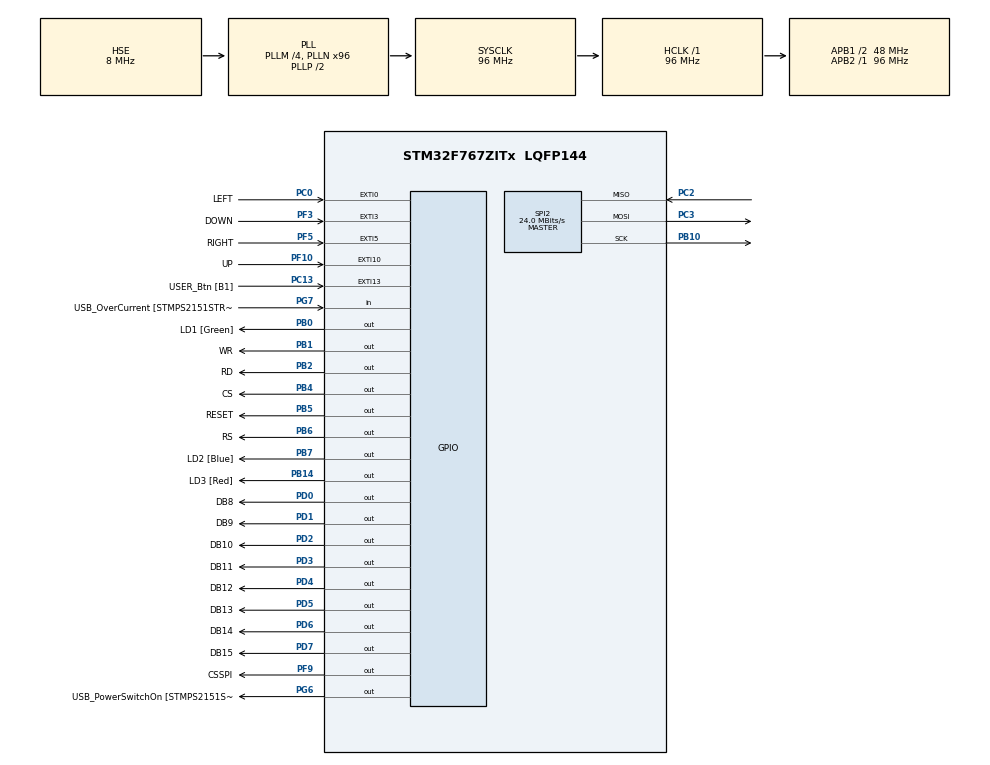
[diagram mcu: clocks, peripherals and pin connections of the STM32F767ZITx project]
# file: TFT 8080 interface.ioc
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Mcu.Family=STM32F7
Mcu.Name=STM32F767ZITx
Mcu.Package=LQFP144
NVIC.EXTI0_IRQn=true\:0\:0\:false\:false\:true\:true\:true
NVIC.EXTI15_10_IRQn=true\:0\:0\:false\:false\:true\:true\:true
NVIC.EXTI3_IRQn=true\:0\:0\:false\:false\:true\:true\:true
NVIC.EXTI9_5_IRQn=true\:0\:0\:false\:false\:true\:true\:true
NVIC.PriorityGroup=NVIC_PRIORITYGROUP_4
PA1.GPIO_Label=RMII_REF_CLK [LAN8742A-CZ-TR_REFCLK0]
PA1.Signal=ETH_REF_CLK
PA10.GPIO_Label=USB_ID
PA10.Signal=USB_OTG_FS_ID
PA11.GPIO_Label=USB_DM
PA11.Signal=USB_OTG_FS_DM
PA12.GPIO_Label=USB_DP
PA12.Signal=USB_OTG_FS_DP
PA13.GPIO_Label=TMS
PA13.Mode=Serial_Wire
PA13.Signal=SYS_JTMS-SWDIO
PA14.GPIO_Label=TCK
PA14.Mode=Serial_Wire
PA14.Signal=SYS_JTCK-SWCLK
PA2.GPIO_Label=RMII_MDIO [LAN8742A-CZ-TR_MDIO]
PA2.Signal=ETH_MDIO
PA7.GPIO_Label=RMII_CRS_DV [LAN8742A-CZ-TR_CRS_DV]
PA7.Signal=ETH_CRS_DV
PA8.GPIO_Label=USB_SOF [TP1]
PA8.Signal=USB_OTG_FS_SOF
PA9.GPIO_Label=USB_VBUS
PA9.Signal=USB_OTG_FS_VBUS
PB0.GPIO_Label=LD1 [Green]
PB0.Signal=GPIO_Output
PB1.GPIO_Label=WR
PB1.Signal=GPIO_Output
PB10.Mode=Full_Duplex_Master
PB10.Signal=SPI2_SCK
PB13.GPIO_Label=RMII_TXD1 [LAN8742A-CZ-TR_TXD1]
PB13.Signal=ETH_TXD1
PB14.GPIO_Label=LD3 [Red]
PB14.Signal=GPIO_Output
PB2.GPIO_Label=RD
PB2.Signal=GPIO_Output
PB3.GPIO_Label=SWO
PB3.Signal=SYS_JTDO-SWO
PB4.GPIO_Label=CS
PB4.Signal=GPIO_Output
PB5.GPIO_Label=RESET
PB5.Signal=GPIO_Output
PB6.GPIO_Label=RS
PB6.Signal=GPIO_Output
PB7.GPIO_Label=LD2 [Blue]
PB7.Signal=GPIO_Output
PC0.GPIO_Label=LEFT
PC0.Signal=GPXTI0
PC1.GPIO_Label=RMII_MDC [LAN8742A-CZ-TR_MDC]
PC1.Signal=ETH_MDC
PC13.GPIO_Label=USER_Btn [B1]
PC13.Signal=GPXTI13
PC14/OSC32_IN.Mode=LSE-External-Oscillator
PC14/OSC32_IN.Signal=RCC_OSC32_IN
PC15/OSC32_OUT.Mode=LSE-External-Oscillator
PC15/OSC32_OUT.Signal=RCC_OSC32_OUT
PC2.Mode=Full_Duplex_Master
PC2.Signal=SPI2_MISO
PC3.Mode=Full_Duplex_Master
PC3.Signal=SPI2_MOSI
PC4.GPIO_Label=RMII_RXD0 [LAN8742A-CZ-TR_RXD0]
PC4.Signal=ETH_RXD0
PC5.GPIO_Label=RMII_RXD1 [LAN8742A-CZ-TR_RXD1]
PC5.Signal=ETH_RXD1
PD0.GPIO_Label=DB8
PD0.PinState=GPIO_PIN_SET
PD0.Signal=GPIO_Output
PD1.GPIO_Label=DB9
PD1.PinState=GPIO_PIN_SET
PD1.Signal=GPIO_Output
PD2.GPIO_Label=DB10
PD2.PinState=GPIO_PIN_SET
PD2.Signal=GPIO_Output
PD3.GPIO_Label=DB11
PD3.PinState=GPIO_PIN_SET
PD3.Signal=GPIO_Output
PD4.GPIO_Label=DB12
PD4.PinState=GPIO_PIN_SET
PD4.Signal=GPIO_Output
PD5.GPIO_Label=DB13
PD5.PinState=GPIO_PIN_SET
PD5.Signal=GPIO_Output
PD6.GPIO_Label=DB14
PD6.PinState=GPIO_PIN_SET
PD6.Signal=GPIO_Output
PD7.GPIO_Label=DB15
PD7.PinState=GPIO_PIN_SET
PD7.Signal=GPIO_Output
PD8.GPIO_Label=STLK_RX [STM32F103CBT6_PA3]
PD8.Signal=USART3_TX
PD9.GPIO_Label=STLK_TX [STM32F103CBT6_PA2]
PD9.Signal=USART3_RX
PF10.GPIO_Label=UP
PF10.Signal=GPXTI10
PF3.GPIO_Label=DOWN
PF3.Signal=GPXTI3
PF5.GPIO_Label=RIGHT
PF5.Signal=GPXTI5
PF9.GPIO_Label=CSSPI
PF9.Signal=GPIO_Output
PG11.GPIO_Label=RMII_TX_EN [LAN8742A-CZ-TR_TXEN]
PG11.Signal=ETH_TX_EN
PG13.GPIO_Label=RMII_TXD0 [LAN8742A-CZ-TR_TXD0]
PG13.Signal=ETH_TXD0
PG6.GPIO_Label=USB_PowerSwitchOn [STMPS2151STR_EN]
PG6.Signal=GPIO_Output
PG7.GPIO_Label=USB_OverCurrent [STMPS2151STR_FAULT]
PG7.Signal=GPIO_Input
PH0/OSC_IN.GPIO_Label=MCO [STM32F103CBT6_PA8]
PH0/OSC_IN.Mode=HSE-External-Oscillator
PH0/OSC_IN.Signal=RCC_OSC_IN
PH1/OSC_OUT.Mode=HSE-External-Oscillator
PH1/OSC_OUT.Signal=RCC_OSC_OUT
ProjectManager.HeapSize=0x200
ProjectManager.StackSize=0x400
ProjectManager.TargetToolchain=EWARM V8.32
RCC.48MHZClocksFreq_Value=24000000
RCC.AHBFreq_Value=96000000
RCC.APB1CLKDivider=RCC_HCLK_DIV2
RCC.APB1Freq_Value=48000000
RCC.APB1TimFreq_Value=96000000
RCC.APB2Freq_Value=96000000
RCC.APB2TimFreq_Value=96000000
RCC.CortexFreq_Value=96000000
RCC.HCLKFreq_Value=96000000
RCC.HSE_VALUE=8000000
RCC.HSI_VALUE=16000000
RCC.PLLM=4
RCC.PLLMUL=RCC_PLL_MUL9
RCC.PLLN=96
RCC.PLLQ=4
RCC.PLLSourceVirtual=RCC_PLLSOURCE_HSE
RCC.PRESCALERUSB=RCC_USBCLKSOURCE_PLL_DIV1_5
RCC.SYSCLKFreq_VALUE=96000000
RCC.SYSCLKSource=RCC_SYSCLKSOURCE_PLLCLK
RCC.SYSCLKSourceVirtual=RCC_SYSCLKSOURCE_PLLCLK
RCC.USBFreq_Value=48000000
RCC.VCOOutputFreq_Value=192000000
SPI2.CalculateBaudRate=24.0 MBits/s
SPI2.DataSize=SPI_DATASIZE_8BIT
SPI2.Direction=SPI_DIRECTION_2LINES
SPI2.Mode=SPI_MODE_MASTER
SPI2.VirtualType=VM_MASTER
board=NUCLEO-F767ZI

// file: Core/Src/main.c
/* USER CODE BEGIN Header */
/**
  ******************************************************************************
  * @file           : main.c
  * @brief          : Main program body
  ******************************************************************************
  * @attention
  *
  * <h2><center>&copy; Copyright (c) 2021 STMicroelectronics.
  * All rights reserved.</center></h2>
  *
  * This software component is licensed by ST under BSD 3-Clause license,
  * the "License"; You may not use this file except in compliance with the
  * License. You may obtain a copy of the License at:
  *                        opensource.org/licenses/BSD-3-Clause
  *
  ******************************************************************************
  */

/* USER CODE END Header */
#include "main.h"
#include "menu.h"
#include "TFT_8080.h"
#include "sdcard.h"
#include "ff.h"

/* USER CODE BEGIN PM */
uint8_t flag_key1_press = 1;
uint32_t time_key1_press = 0;
/* USER CODE END PM */

SPI_HandleTypeDef hspi2;

void SystemClock_Config(void);
static void MX_GPIO_Init(void);
static void MX_SPI2_Init(void);
void init (void);
/* USER CODE BEGIN PFP */
FATFS fs;
/* USER CODE END PFP */

int main(void)
{
  /* USER CODE BEGIN 1 */
  unsigned char image[240];
  unsigned int Read;
  /* USER CODE END 1 */

  /* MCU Configuration--------------------------------------------------------*/

  /* Reset of all peripherals, Initializes the Flash interface and the Systick. */
  HAL_Init();

  /* Configure the system clock */
  SystemClock_Config();

  /* Initialize all configured peripherals */
  MX_GPIO_Init();
  MX_SPI2_Init();
  /* USER CODE BEGIN 2 */
  TFT_Init();
 /* TFT_Fill_Screen(0,320,0,240,BLUE);
  Menu_Create();
  TFT_Image(0,0,320,240,vaz);*/
  init ();
  FIL file;
  FRESULT res = f_open(&file, "vaz.h", FA_READ);
  if(res != FR_OK)
  {
   HAL_GPIO_TogglePin(LD2_GPIO_Port,LD2_Pin);
  }
  res = f_read(&file, image, sizeof(image), &Read);
  if(res != FR_OK)
  {
    HAL_GPIO_TogglePin(LD2_GPIO_Port,LD2_Pin);
    f_close(&file);
  }
  TFT_Image(0,0,320,240,image);
  /* USER CODE END 2 */

  /* Infinite loop */
  while (1)
  {

  }
}
void init (void)
{
  SDCARD_Unselect();
   int code = SDCARD_Init();
    if(code < 0)
    {
      HAL_GPIO_TogglePin(LD1_GPIO_Port,LD1_Pin);
    }
    FRESULT res = f_mount(&fs, "", 0);
    if(res != FR_OK)
    {
       HAL_GPIO_TogglePin(LD2_GPIO_Port,LD2_Pin);
    }
}

void SystemClock_Config(void)
{
  RCC_OscInitTypeDef RCC_OscInitStruct = {0};
  RCC_ClkInitTypeDef RCC_ClkInitStruct = {0};

  /** Configure LSE Drive Capability
  */
  HAL_PWR_EnableBkUpAccess();
  /** Configure the main internal regulator output voltage
  */
  __HAL_RCC_PWR_CLK_ENABLE();
  __HAL_PWR_VOLTAGESCALING_CONFIG(PWR_REGULATOR_VOLTAGE_SCALE3);
  /** Initializes the RCC Oscillators according to the specified parameters
  * in the RCC_OscInitTypeDef structure.
  */
  RCC_OscInitStruct.OscillatorType = RCC_OSCILLATORTYPE_HSE;
  RCC_OscInitStruct.HSEState = RCC_HSE_ON;
  RCC_OscInitStruct.PLL.PLLState = RCC_PLL_ON;
  RCC_OscInitStruct.PLL.PLLSource = RCC_PLLSOURCE_HSE;
  RCC_OscInitStruct.PLL.PLLM = 4;
  RCC_OscInitStruct.PLL.PLLN = 96;
  RCC_OscInitStruct.PLL.PLLP = RCC_PLLP_DIV2;
  RCC_OscInitStruct.PLL.PLLQ = 4;
  RCC_OscInitStruct.PLL.PLLR = 2;
  if (HAL_RCC_OscConfig(&RCC_OscInitStruct) != HAL_OK)
  {
    Error_Handler();
  }
  /** Activate the Over-Drive mode
  */
  if (HAL_PWREx_EnableOverDrive() != HAL_OK)
  {
    Error_Handler();
  }
  /** Initializes the CPU, AHB and APB buses clocks
  */
  RCC_ClkInitStruct.ClockType = RCC_CLOCKTYPE_HCLK|RCC_CLOCKTYPE_SYSCLK
                              |RCC_CLOCKTYPE_PCLK1|RCC_CLOCKTYPE_PCLK2;
  RCC_ClkInitStruct.SYSCLKSource = RCC_SYSCLKSOURCE_PLLCLK;
  RCC_ClkInitStruct.AHBCLKDivider = RCC_SYSCLK_DIV1;
  RCC_ClkInitStruct.APB1CLKDivider = RCC_HCLK_DIV2;
  RCC_ClkInitStruct.APB2CLKDivider = RCC_HCLK_DIV1;

  if (HAL_RCC_ClockConfig(&RCC_ClkInitStruct, FLASH_LATENCY_3) != HAL_OK)
  {
    Error_Handler();
  }
}

static void MX_SPI2_Init(void)
{

  /* SPI2 parameter configuration*/
  hspi2.Instance = SPI2;
  hspi2.Init.Mode = SPI_MODE_MASTER;
  hspi2.Init.Direction = SPI_DIRECTION_2LINES;
  hspi2.Init.DataSize = SPI_DATASIZE_8BIT;
  hspi2.Init.CLKPolarity = SPI_POLARITY_LOW;
  hspi2.Init.CLKPhase = SPI_PHASE_1EDGE;
  hspi2.Init.NSS = SPI_NSS_SOFT;
  hspi2.Init.BaudRatePrescaler = SPI_BAUDRATEPRESCALER_16;
  hspi2.Init.FirstBit = SPI_FIRSTBIT_MSB;
  hspi2.Init.TIMode = SPI_TIMODE_DISABLE;
  hspi2.Init.CRCCalculation = SPI_CRCCALCULATION_DISABLE;
  hspi2.Init.CRCPolynomial = 7;
  hspi2.Init.CRCLength = SPI_CRC_LENGTH_DATASIZE;
  hspi2.Init.NSSPMode = SPI_NSS_PULSE_ENABLE;
  if (HAL_SPI_Init(&hspi2) != HAL_OK)
  {
    Error_Handler();
  }

}

static void MX_GPIO_Init(void)
{
  GPIO_InitTypeDef GPIO_InitStruct = {0};

  /* GPIO Ports Clock Enable */
  __HAL_RCC_GPIOC_CLK_ENABLE();
  __HAL_RCC_GPIOF_CLK_ENABLE();
  __HAL_RCC_GPIOH_CLK_ENABLE();
  __HAL_RCC_GPIOA_CLK_ENABLE();
  __HAL_RCC_GPIOB_CLK_ENABLE();
  __HAL_RCC_GPIOD_CLK_ENABLE();
  __HAL_RCC_GPIOG_CLK_ENABLE();

  /*Configure GPIO pin Output Level */
  HAL_GPIO_WritePin(CSSPI_GPIO_Port, CSSPI_Pin, GPIO_PIN_RESET);

  /*Configure GPIO pin Output Level */
  HAL_GPIO_WritePin(GPIOB, LD1_Pin|WR_Pin|RD_Pin|LD3_Pin
                          |CS_Pin|RESET_Pin|RS_Pin|LD2_Pin, GPIO_PIN_RESET);

  /*Configure GPIO pin Output Level */
  HAL_GPIO_WritePin(USB_PowerSwitchOn_GPIO_Port, USB_PowerSwitchOn_Pin, GPIO_PIN_RESET);

  /*Configure GPIO pin Output Level */
  HAL_GPIO_WritePin(GPIOD, DB8_Pin|DB9_Pin|DB10_Pin|DB11_Pin
                          |DB12_Pin|DB13_Pin|DB14_Pin|DB15_Pin, GPIO_PIN_SET);

  /*Configure GPIO pins : USER_Btn_Pin LEFT_Pin */
  GPIO_InitStruct.Pin = USER_Btn_Pin|LEFT_Pin;
  GPIO_InitStruct.Mode = GPIO_MODE_IT_RISING;
  GPIO_InitStruct.Pull = GPIO_NOPULL;
  HAL_GPIO_Init(GPIOC, &GPIO_InitStruct);

  /*Configure GPIO pins : DOWN_Pin RIGHT_Pin UP_Pin */
  GPIO_InitStruct.Pin = DOWN_Pin|RIGHT_Pin|UP_Pin;
  GPIO_InitStruct.Mode = GPIO_MODE_IT_RISING;
  GPIO_InitStruct.Pull = GPIO_NOPULL;
  HAL_GPIO_Init(GPIOF, &GPIO_InitStruct);

  /*Configure GPIO pin : CSSPI_Pin */
  GPIO_InitStruct.Pin = CSSPI_Pin;
  GPIO_InitStruct.Mode = GPIO_MODE_OUTPUT_PP;
  GPIO_InitStruct.Pull = GPIO_NOPULL;
  GPIO_InitStruct.Speed = GPIO_SPEED_FREQ_LOW;
  HAL_GPIO_Init(CSSPI_GPIO_Port, &GPIO_InitStruct);

  /*Configure GPIO pins : RMII_MDC_Pin RMII_RXD0_Pin RMII_RXD1_Pin */
  GPIO_InitStruct.Pin = RMII_MDC_Pin|RMII_RXD0_Pin|RMII_RXD1_Pin;
  GPIO_InitStruct.Mode = GPIO_MODE_AF_PP;
  GPIO_InitStruct.Pull = GPIO_NOPULL;
  GPIO_InitStruct.Speed = GPIO_SPEED_FREQ_VERY_HIGH;
  GPIO_InitStruct.Alternate = GPIO_AF11_ETH;
  HAL_GPIO_Init(GPIOC, &GPIO_InitStruct);

  /*Configure GPIO pins : RMII_REF_CLK_Pin RMII_MDIO_Pin RMII_CRS_DV_Pin */
  GPIO_InitStruct.Pin = RMII_REF_CLK_Pin|RMII_MDIO_Pin|RMII_CRS_DV_Pin;
  GPIO_InitStruct.Mode = GPIO_MODE_AF_PP;
  GPIO_InitStruct.Pull = GPIO_NOPULL;
  GPIO_InitStruct.Speed = GPIO_SPEED_FREQ_VERY_HIGH;
  GPIO_InitStruct.Alternate = GPIO_AF11_ETH;
  HAL_GPIO_Init(GPIOA, &GPIO_InitStruct);

  /*Configure GPIO pins : LD1_Pin WR_Pin RD_Pin LD3_Pin
                           CS_Pin RESET_Pin RS_Pin LD2_Pin */
  GPIO_InitStruct.Pin = LD1_Pin|WR_Pin|RD_Pin|LD3_Pin
                          |CS_Pin|RESET_Pin|RS_Pin|LD2_Pin;
  GPIO_InitStruct.Mode = GPIO_MODE_OUTPUT_PP;
  GPIO_InitStruct.Pull = GPIO_NOPULL;
  GPIO_InitStruct.Speed = GPIO_SPEED_FREQ_LOW;
  HAL_GPIO_Init(GPIOB, &GPIO_InitStruct);

  /*Configure GPIO pin : RMII_TXD1_Pin */
  GPIO_InitStruct.Pin = RMII_TXD1_Pin;
  GPIO_InitStruct.Mode = GPIO_MODE_AF_PP;
  GPIO_InitStruct.Pull = GPIO_NOPULL;
  GPIO_InitStruct.Speed = GPIO_SPEED_FREQ_VERY_HIGH;
  GPIO_InitStruct.Alternate = GPIO_AF11_ETH;
  HAL_GPIO_Init(RMII_TXD1_GPIO_Port, &GPIO_InitStruct);

  /*Configure GPIO pins : STLK_RX_Pin STLK_TX_Pin */
  GPIO_InitStruct.Pin = STLK_RX_Pin|STLK_TX_Pin;
  GPIO_InitStruct.Mode = GPIO_MODE_AF_PP;
  GPIO_InitStruct.Pull = GPIO_NOPULL;
  GPIO_InitStruct.Speed = GPIO_SPEED_FREQ_VERY_HIGH;
  GPIO_InitStruct.Alternate = GPIO_AF7_USART3;
  HAL_GPIO_Init(GPIOD, &GPIO_InitStruct);

  /*Configure GPIO pin : USB_PowerSwitchOn_Pin */
  GPIO_InitStruct.Pin = USB_PowerSwitchOn_Pin;
  GPIO_InitStruct.Mode = GPIO_MODE_OUTPUT_PP;
  GPIO_InitStruct.Pull = GPIO_NOPULL;
  GPIO_InitStruct.Speed = GPIO_SPEED_FREQ_LOW;
  HAL_GPIO_Init(USB_PowerSwitchOn_GPIO_Port, &GPIO_InitStruct);

  /*Configure GPIO pin : USB_OverCurrent_Pin */
  GPIO_InitStruct.Pin = USB_OverCurrent_Pin;
  GPIO_InitStruct.Mode = GPIO_MODE_INPUT;
  GPIO_InitStruct.Pull = GPIO_NOPULL;
  HAL_GPIO_Init(USB_OverCurrent_GPIO_Port, &GPIO_InitStruct);

  /*Configure GPIO pins : USB_SOF_Pin USB_ID_Pin USB_DM_Pin USB_DP_Pin */
  GPIO_InitStruct.Pin = USB_SOF_Pin|USB_ID_Pin|USB_DM_Pin|USB_DP_Pin;
  GPIO_InitStruct.Mode = GPIO_MODE_AF_PP;
  GPIO_InitStruct.Pull = GPIO_NOPULL;
  GPIO_InitStruct.Speed = GPIO_SPEED_FREQ_VERY_HIGH;
  GPIO_InitStruct.Alternate = GPIO_AF10_OTG_FS;
  HAL_GPIO_Init(GPIOA, &GPIO_InitStruct);

  /*Configure GPIO pin : USB_VBUS_Pin */
  GPIO_InitStruct.Pin = USB_VBUS_Pin;
  GPIO_InitStruct.Mode = GPIO_MODE_INPUT;
  GPIO_InitStruct.Pull = GPIO_NOPULL;
  HAL_GPIO_Init(USB_VBUS_GPIO_Port, &GPIO_InitStruct);

  /*Configure GPIO pins : DB8_Pin DB9_Pin DB10_Pin DB11_Pin
                           DB12_Pin DB13_Pin DB14_Pin DB15_Pin */
  GPIO_InitStruct.Pin = DB8_Pin|DB9_Pin|DB10_Pin|DB11_Pin
                          |DB12_Pin|DB13_Pin|DB14_Pin|DB15_Pin;
  GPIO_InitStruct.Mode = GPIO_MODE_OUTPUT_PP;
  GPIO_InitStruct.Pull = GPIO_NOPULL;
  GPIO_InitStruct.Speed = GPIO_SPEED_FREQ_LOW;
  HAL_GPIO_Init(GPIOD, &GPIO_InitStruct);

  /*Configure GPIO pins : RMII_TX_EN_Pin RMII_TXD0_Pin */
  GPIO_InitStruct.Pin = RMII_TX_EN_Pin|RMII_TXD0_Pin;
  GPIO_InitStruct.Mode = GPIO_MODE_AF_PP;
  GPIO_InitStruct.Pull = GPIO_NOPULL;
  GPIO_InitStruct.Speed = GPIO_SPEED_FREQ_VERY_HIGH;
  GPIO_InitStruct.Alternate = GPIO_AF11_ETH;
  HAL_GPIO_Init(GPIOG, &GPIO_InitStruct);

  /* EXTI interrupt init*/
  HAL_NVIC_SetPriority(EXTI0_IRQn, 0, 0);
  HAL_NVIC_EnableIRQ(EXTI0_IRQn);

  HAL_NVIC_SetPriority(EXTI3_IRQn, 0, 0);
  HAL_NVIC_EnableIRQ(EXTI3_IRQn);

  HAL_NVIC_SetPriority(EXTI9_5_IRQn, 0, 0);
  HAL_NVIC_EnableIRQ(EXTI9_5_IRQn);

  HAL_NVIC_SetPriority(EXTI15_10_IRQn, 0, 0);
  HAL_NVIC_EnableIRQ(EXTI15_10_IRQn);

}

/* USER CODE BEGIN 4 */
void HAL_GPIO_EXTI_Callback(uint16_t GPIO_Pin)
{
  if( GPIO_Pin==UP_Pin)
  {
    flag_key1_press = 0;
    time_key1_press = HAL_GetTick();
    if(current->prev!=NULL)
   {
       current=current->prev;
       Menu_Disp();
       Cursor();

   }
  }

   if( GPIO_Pin==DOWN_Pin)
  {
     flag_key1_press = 0;
     time_key1_press = HAL_GetTick();
     if(current->next!=NULL)
     {
        current=current->next;
        Menu_Disp();
        Cursor();
     }
  }
  if( GPIO_Pin==LEFT_Pin)
  {
    flag_key1_press = 0;
    time_key1_press = HAL_GetTick();
    if(current->parent!=NULL)
    {
       current=current->parent;
       Menu_Disp();
       Cursor();
    }
  }
  if( GPIO_Pin==RIGHT_Pin)
  {
    flag_key1_press = 0;
    time_key1_press = HAL_GetTick();
    if(current->child!=NULL)
    {
       current=current->child;
       Menu_Disp();
       Cursor();
    }
  }
}

/* USER CODE END 4 */

void Error_Handler(void)
{
  __disable_irq();
  while (1)
  {
  }
}

/************************ (C) COPYRIGHT STMicroelectronics *****END OF FILE****/
